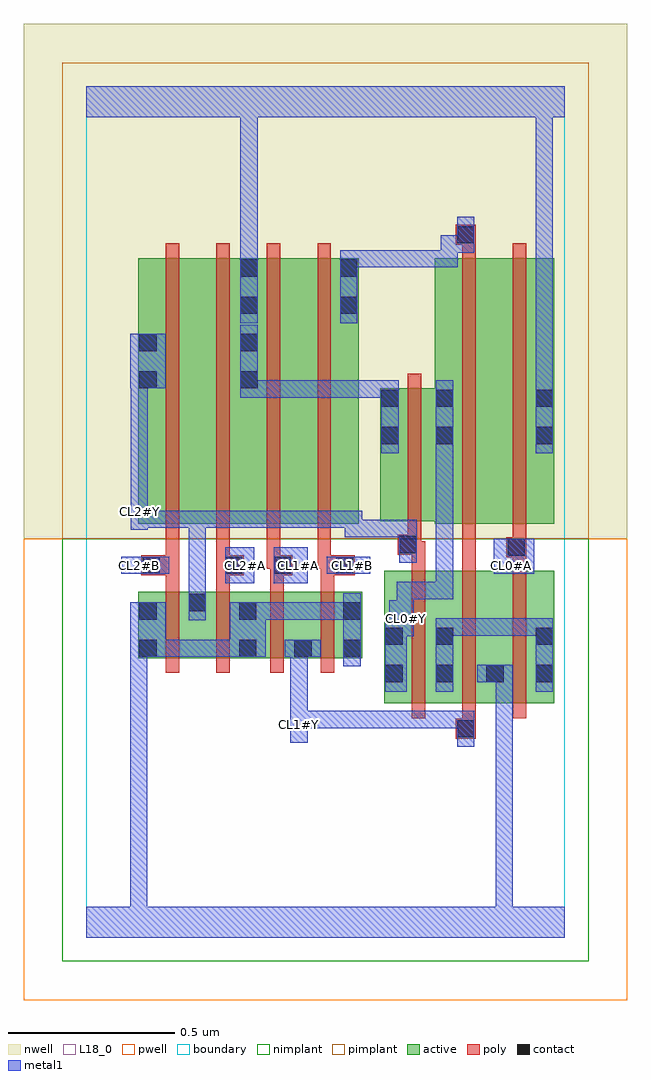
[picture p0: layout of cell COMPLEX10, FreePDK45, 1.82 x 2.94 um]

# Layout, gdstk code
import gdstk
lib = gdstk.Library(unit=1e-6, precision=1e-09)
def R(c, l, rs):  # rectangles x0, y0, x1, y1
    for r in rs: c.add(gdstk.rectangle(r[:2], r[2:], *l))
def A(c, l, x, y, w, h, nx, ny, dx, dy):  # array of equal rectangles
    R(c, l, [(x+i*dx, y+j*dy, x+i*dx+w, y+j*dy+h) for i in range(nx) for j in range(ny)])
active = (1, 0)
pwell = (2, 0)
nwell = (3, 0)
nimplant = (4, 0)
pimplant = (5, 0)
poly = (9, 0)
contact = (10, 0)
metal1 = (11, 0)
L18_0 = (18, 0)
boundary = (235, 0)

complex10 = lib.new_cell('COMPLEX10')
R(complex10, active, [(0.896,0.704,1.108,1.104), (1.048,0.704,1.26,1.104), (1.2,0.704,1.408,1.104), (1.2,0.704,1.26,0.936), (0.896,0.756,0.956,1.104), (1.048,0.756,1.108,0.936), (1.348,0.756,1.408,1.104), (0.156,0.84,0.216,1.04), (0.156,0.84,0.364,1.04), (0.304,0.84,0.516,1.04), (0.456,0.84,0.682,1.04), (0.456,0.84,0.516,1.012), (0.622,0.84,0.83,1.04), (0.622,0.84,0.682,0.908), (0.77,0.84,0.83,1.04), (0.304,0.95,0.364,1.038), (0.156,1.244,0.216,2.044), (0.156,1.244,0.336,2.044), (0.336,1.244,0.52,2.044), (0.46,1.244,0.64,2.044), (0.64,1.244,0.82,2.044), (0.76,1.244,0.82,2.044), (1.048,1.244,1.228,2.044), (1.228,1.244,1.408,2.044), (1.348,1.244,1.408,2.044), (0.884,1.252,1.108,1.652), (0.884,1.252,0.944,1.652), (1.048,1.48,1.108,1.934), (0.46,1.648,0.52,2.044)])
R(complex10, pwell, [(-0.188,-0.188,1.628,1.2)])
R(complex10, nwell, [(-0.188,1.2,1.628,2.748)])
R(complex10, nimplant, [(-0.072,-0.072,1.512,1.2)])
R(complex10, pimplant, [(-0.072,1.2,1.512,2.632)])
A(complex10, poly, 0.98, 0.66, 0.04, 0.488, 3, 1, 0.152, 0)
A(complex10, poly, 0.24, 1.11, 0.04, 0.13, 4, 1, 0.152, 0)
A(complex10, poly, 0.24, 1.2, 0.04, 0.888, 4, 1, 0.152, 0)
R(complex10, poly, [(1.112,0.598,1.172,0.658), (1.132,0.618,1.172,0.7), (0.24,0.796,0.28,1.084), (0.392,0.796,0.432,1.084), (0.554,0.796,0.594,1.084), (0.706,0.796,0.746,1.084), (0.24,1.044,0.28,1.13), (0.392,1.044,0.432,1.13), (0.554,1.044,0.594,1.13), (0.706,1.044,0.746,1.13), (0.166,1.09,0.28,1.15), (0.392,1.09,0.474,1.15), (0.554,1.09,0.62,1.15), (0.706,1.09,0.808,1.15), (0.98,1.108,1.02,1.192), (1.132,1.108,1.172,1.204), (1.284,1.108,1.324,1.184), (0.24,1.11,0.28,1.15), (0.24,1.11,0.28,1.15), (0.392,1.11,0.432,1.15), (0.392,1.11,0.432,1.15), (0.544,1.11,0.594,1.15), (0.554,1.11,0.594,1.15), (0.696,1.11,0.746,1.15), (0.706,1.11,0.746,1.15), (1.264,1.144,1.324,1.204), (0.938,1.152,1.008,1.212), (0.968,1.152,1.008,1.192), (0.968,1.152,1.02,1.192), (1.132,1.164,1.172,1.24), (1.132,1.164,1.172,1.204), (1.132,1.164,1.172,1.204), (1.132,1.164,1.172,1.204), (1.284,1.164,1.324,1.24), (1.284,1.164,1.324,1.204), (1.284,1.164,1.324,1.204), (0.968,1.172,1.008,1.248), (1.132,1.2,1.172,2.088), (1.284,1.2,1.324,2.088), (0.968,1.208,1.008,1.696), (1.132,2.048,1.172,2.124), (1.112,2.084,1.172,2.144)])
A(complex10, contact, 0.9, 0.768, 0.052, 0.052, 3, 1, 0.152, 0)
A(complex10, contact, 0.464, 1.652, 0.052, 0.052, 1, 4, 0, 0.112)
R(complex10, contact, [(1.116,0.602,1.168,0.654), (1.352,0.768,1.404,0.82), (0.16,0.844,0.212,0.896), (0.46,0.844,0.512,0.896), (0.626,0.844,0.678,0.896), (0.774,0.844,0.826,0.896), (0.9,0.88,0.952,0.932), (1.052,0.88,1.104,0.932), (1.352,0.88,1.404,0.932), (0.16,0.956,0.212,1.008), (0.46,0.956,0.512,1.008), (0.774,0.956,0.826,1.008), (0.308,0.982,0.36,1.034), (0.17,1.094,0.222,1.146), (0.418,1.094,0.47,1.146), (0.564,1.094,0.616,1.146), (0.752,1.094,0.804,1.146), (1.268,1.148,1.32,1.2), (0.942,1.156,0.994,1.208), (0.888,1.484,0.94,1.536), (1.052,1.484,1.104,1.536), (1.352,1.484,1.404,1.536), (0.888,1.596,0.94,1.648), (1.052,1.596,1.104,1.648), (1.352,1.596,1.404,1.648), (0.16,1.652,0.212,1.704), (0.16,1.764,0.212,1.816), (0.764,1.876,0.816,1.928), (0.764,1.988,0.816,2.04), (1.116,2.088,1.168,2.14)])
R(complex10, metal1, [(0,0,1.44,0.092), (0.132,0.04,0.184,0.092), (0.132,0.04,0.184,0.092), (0.132,0.04,0.184,0.092), (0.132,0.04,0.184,0.092), (0.132,0.04,0.184,0.092), (0.132,0.04,0.184,0.092), (0.132,0.04,0.184,0.092), (0.132,0.04,0.184,0.092), (0.132,0.04,0.184,0.896), (1.232,0.04,1.284,0.092), (1.232,0.04,1.284,0.092), (1.232,0.04,1.284,0.092), (1.232,0.04,1.284,0.092), (1.232,0.04,1.284,0.092), (1.232,0.04,1.284,0.092), (1.232,0.04,1.284,0.092), (1.232,0.04,1.284,0.092), (1.232,0.04,1.284,0.092), (1.232,0.04,1.284,0.092), (1.232,0.04,1.284,0.82), (1.116,0.574,1.168,0.682), (0.614,0.586,0.666,0.694), (0.614,0.63,0.83,0.682), (0.778,0.63,0.83,0.682), (0.778,0.63,0.83,0.682), (0.778,0.63,0.83,0.682), (0.778,0.63,0.994,0.682), (0.942,0.63,0.994,0.682), (0.942,0.63,0.994,0.682), (0.942,0.63,0.994,0.682), (0.942,0.63,1.118,0.682), (1.066,0.63,1.118,0.682), (1.066,0.63,1.168,0.682), (0.614,0.642,0.666,0.694), (0.614,0.642,0.666,0.694), (0.614,0.642,0.666,0.694), (0.614,0.642,0.666,0.694), (0.614,0.642,0.666,0.896), (0.9,0.74,0.964,0.96), (1.052,0.74,1.104,0.96), (1.352,0.74,1.404,0.96), (1.176,0.768,1.284,0.82), (1.232,0.768,1.284,0.82), (1.232,0.768,1.284,0.82), (0.774,0.816,0.826,1.036), (0.132,0.844,0.184,0.896), (0.132,0.844,0.184,0.896), (0.132,0.844,0.184,0.896), (0.132,0.844,0.184,0.896), (0.132,0.844,0.184,0.896), (0.132,0.844,0.184,0.896), (0.132,0.844,0.184,0.896), (0.132,0.844,0.184,0.896), (0.132,0.844,0.24,1.008), (0.188,0.844,0.24,0.896), (0.188,0.844,0.24,0.896), (0.188,0.844,0.36,0.896), (0.308,0.844,0.36,0.896), (0.308,0.844,0.36,0.896), (0.308,0.844,0.36,0.896), (0.308,0.844,0.484,0.896), (0.432,0.844,0.54,1.008), (0.598,0.844,0.706,0.896), (0.912,0.906,0.986,1.014), (0.912,0.908,0.964,0.96), (1.052,0.908,1.104,0.96), (1.052,0.908,1.104,0.96), (1.052,0.908,1.294,0.96), (1.242,0.908,1.294,0.96), (1.242,0.908,1.404,0.96), (1.352,0.908,1.404,0.96), (1.352,0.908,1.404,0.96), (0.308,0.954,0.36,1.062), (0.488,0.956,0.54,1.008), (0.488,0.956,0.54,1.008), (0.488,0.956,0.54,1.008), (0.488,0.956,0.54,1.008), (0.488,0.956,0.666,1.008), (0.614,0.956,0.666,1.008), (0.614,0.956,0.666,1.008), (0.614,0.956,0.666,1.008), (0.614,0.956,0.826,1.008), (0.934,0.962,0.986,1.014), (0.934,0.962,0.986,1.07), (0.308,1.01,0.36,1.062), (0.308,1.01,0.36,1.062), (0.308,1.01,0.36,1.284), (0.934,1.018,1.104,1.07), (1.052,1.018,1.104,1.07), (1.052,1.018,1.104,1.508), (0.418,1.066,0.506,1.174), (0.564,1.066,0.666,1.174), (0.106,1.094,0.25,1.146), (0.724,1.094,0.854,1.146), (1.226,1.094,1.348,1.2), (0.942,1.128,0.994,1.236), (0.942,1.184,0.994,1.236), (0.942,1.184,0.994,1.256), (0.778,1.204,0.994,1.256), (0.778,1.204,0.83,1.284), (0.134,1.226,0.186,1.334), (0.134,1.232,0.186,1.284), (0.134,1.232,0.186,1.284), (0.134,1.232,0.36,1.284), (0.308,1.232,0.36,1.284), (0.308,1.232,0.36,1.284), (0.308,1.232,0.36,1.284), (0.308,1.232,0.54,1.284), (0.488,1.232,0.54,1.284), (0.488,1.232,0.54,1.284), (0.488,1.232,0.54,1.284), (0.488,1.232,0.65,1.284), (0.598,1.232,0.65,1.284), (0.598,1.232,0.65,1.284), (0.598,1.232,0.65,1.284), (0.598,1.232,0.83,1.284), (0.134,1.282,0.186,1.704), (0.888,1.456,0.94,1.676), (1.052,1.456,1.104,1.508), (1.052,1.456,1.104,1.508), (1.052,1.456,1.104,1.676), (1.352,1.456,1.404,1.676), (0.464,1.624,0.516,1.676), (0.464,1.624,0.516,1.676), (0.464,1.624,0.516,1.844), (0.464,1.624,0.65,1.676), (0.598,1.624,0.65,1.676), (0.598,1.624,0.83,1.676), (0.778,1.624,0.83,1.676), (0.778,1.624,0.83,1.676), (0.778,1.624,0.83,1.676), (0.778,1.624,0.94,1.676), (1.352,1.624,1.404,1.676), (1.352,1.624,1.404,1.676), (1.352,1.624,1.404,2.52), (0.132,1.652,0.24,1.816), (0.464,1.848,0.516,2.068), (0.764,1.848,0.816,2.068), (0.464,2.016,0.516,2.068), (0.464,2.016,0.516,2.068), (0.464,2.016,0.516,2.068), (0.464,2.016,0.516,2.068), (0.464,2.016,0.516,2.068), (0.464,2.016,0.516,2.068), (0.464,2.016,0.516,2.068), (0.464,2.016,0.516,2.068), (0.464,2.016,0.516,2.52), (0.764,2.016,0.994,2.068), (0.942,2.016,0.994,2.068), (0.942,2.016,0.994,2.068), (0.942,2.016,0.994,2.068), (0.942,2.016,1.118,2.068), (1.066,2.016,1.118,2.068), (1.066,2.016,1.118,2.112), (1.066,2.06,1.118,2.112), (1.066,2.06,1.168,2.112), (1.116,2.06,1.168,2.168), (0,2.468,1.44,2.56), (1.352,2.468,1.404,2.52), (1.352,2.468,1.404,2.52), (1.352,2.468,1.404,2.52), (1.352,2.468,1.404,2.52), (1.352,2.468,1.404,2.52), (1.352,2.468,1.404,2.52)])
A(complex10, L18_0, 0.454, 1.094, 0.052, 0.052, 3, 1, 0.16, 0)
R(complex10, L18_0, [(0,0,1.44,0.092), (0.132,0.04,0.184,0.092), (0.132,0.04,0.184,0.092), (0.132,0.04,0.184,0.092), (0.132,0.04,0.184,0.092), (0.132,0.04,0.184,0.092), (0.132,0.04,0.184,0.092), (0.132,0.04,0.184,0.092), (0.132,0.04,0.184,0.092), (0.132,0.04,0.184,0.896), (1.232,0.04,1.284,0.092), (1.232,0.04,1.284,0.092), (1.232,0.04,1.284,0.092), (1.232,0.04,1.284,0.092), (1.232,0.04,1.284,0.092), (1.232,0.04,1.284,0.092), (1.232,0.04,1.284,0.092), (1.232,0.04,1.284,0.092), (1.232,0.04,1.284,0.092), (1.232,0.04,1.284,0.092), (1.232,0.04,1.284,0.82), (1.116,0.574,1.168,0.682), (0.614,0.586,0.666,0.694), (0.614,0.614,0.666,0.666), (0.614,0.63,0.83,0.682), (0.778,0.63,0.83,0.682), (0.778,0.63,0.83,0.682), (0.778,0.63,0.83,0.682), (0.778,0.63,0.994,0.682), (0.942,0.63,0.994,0.682), (0.942,0.63,0.994,0.682), (0.942,0.63,0.994,0.682), (0.942,0.63,1.118,0.682), (1.066,0.63,1.118,0.682), (1.066,0.63,1.168,0.682), (0.614,0.642,0.666,0.694), (0.614,0.642,0.666,0.694), (0.614,0.642,0.666,0.694), (0.614,0.642,0.666,0.694), (0.614,0.642,0.666,0.896), (0.9,0.74,0.964,0.96), (1.176,0.768,1.284,0.82), (1.232,0.768,1.284,0.82), (1.232,0.768,1.284,0.82), (0.774,0.816,0.826,1.036), (0.132,0.844,0.184,0.896), (0.132,0.844,0.184,0.896), (0.132,0.844,0.184,0.896), (0.132,0.844,0.184,0.896), (0.132,0.844,0.184,0.896), (0.132,0.844,0.184,0.896), (0.132,0.844,0.184,0.896), (0.132,0.844,0.184,0.896), (0.132,0.844,0.24,1.008), (0.188,0.844,0.24,0.896), (0.188,0.844,0.24,0.896), (0.188,0.844,0.36,0.896), (0.308,0.844,0.36,0.896), (0.308,0.844,0.36,0.896), (0.308,0.844,0.36,0.896), (0.308,0.844,0.484,0.896), (0.432,0.844,0.54,1.008), (0.598,0.844,0.706,0.896), (0.912,0.906,0.986,1.014), (0.912,0.908,0.964,0.96), (0.934,0.934,0.986,0.986), (0.308,0.954,0.36,1.062), (0.488,0.956,0.54,1.008), (0.488,0.956,0.54,1.008), (0.488,0.956,0.54,1.008), (0.488,0.956,0.54,1.008), (0.488,0.956,0.666,1.008), (0.614,0.956,0.666,1.008), (0.614,0.956,0.666,1.008), (0.614,0.956,0.666,1.008), (0.614,0.956,0.826,1.008), (0.934,0.962,0.986,1.014), (0.934,0.962,0.986,1.07), (0.308,1.01,0.36,1.062), (0.308,1.01,0.36,1.062), (0.308,1.01,0.36,1.284), (0.934,1.018,1.104,1.07), (1.052,1.018,1.104,1.07), (1.052,1.018,1.104,1.508), (0.418,1.066,0.506,1.174), (0.564,1.066,0.666,1.174), (0.106,1.094,0.25,1.146), (0.134,1.094,0.186,1.146), (0.724,1.094,0.854,1.146), (1.226,1.094,1.348,1.2), (1.254,1.094,1.306,1.146), (0.942,1.128,0.994,1.236), (0.942,1.184,0.994,1.236), (0.942,1.184,0.994,1.256), (0.778,1.204,0.994,1.256), (0.778,1.204,0.83,1.284), (0.134,1.226,0.186,1.334), (0.134,1.232,0.186,1.284), (0.134,1.232,0.186,1.284), (0.134,1.232,0.36,1.284), (0.308,1.232,0.36,1.284), (0.308,1.232,0.36,1.284), (0.308,1.232,0.36,1.284), (0.308,1.232,0.54,1.284), (0.488,1.232,0.54,1.284), (0.488,1.232,0.54,1.284), (0.488,1.232,0.54,1.284), (0.488,1.232,0.65,1.284), (0.598,1.232,0.65,1.284), (0.598,1.232,0.65,1.284), (0.598,1.232,0.65,1.284), (0.598,1.232,0.83,1.284), (0.134,1.254,0.186,1.306), (0.134,1.282,0.186,1.704), (0.888,1.456,0.94,1.676), (1.052,1.456,1.104,1.508), (1.052,1.456,1.104,1.508), (1.052,1.456,1.104,1.676), (1.352,1.456,1.404,1.676), (0.464,1.624,0.516,1.676), (0.464,1.624,0.516,1.676), (0.464,1.624,0.516,1.844), (0.464,1.624,0.65,1.676), (0.598,1.624,0.65,1.676), (0.598,1.624,0.83,1.676), (0.778,1.624,0.83,1.676), (0.778,1.624,0.83,1.676), (0.778,1.624,0.83,1.676), (0.778,1.624,0.94,1.676), (1.352,1.624,1.404,1.676), (1.352,1.624,1.404,1.676), (1.352,1.624,1.404,2.52), (0.132,1.652,0.24,1.816), (0.464,1.848,0.516,2.068), (0.764,1.848,0.816,2.068), (0.464,2.016,0.516,2.068), (0.464,2.016,0.516,2.068), (0.464,2.016,0.516,2.068), (0.464,2.016,0.516,2.068), (0.464,2.016,0.516,2.068), (0.464,2.016,0.516,2.068), (0.464,2.016,0.516,2.068), (0.464,2.016,0.516,2.068), (0.464,2.016,0.516,2.52), (0.764,2.016,0.994,2.068), (0.942,2.016,0.994,2.068), (0.942,2.016,0.994,2.068), (0.942,2.016,0.994,2.068), (0.942,2.016,1.118,2.068), (1.066,2.016,1.118,2.068), (1.066,2.016,1.118,2.112), (1.066,2.06,1.118,2.112), (1.066,2.06,1.168,2.112), (1.116,2.06,1.168,2.168), (0,2.468,1.44,2.56), (1.352,2.468,1.404,2.52), (1.352,2.468,1.404,2.52), (1.352,2.468,1.404,2.52), (1.352,2.468,1.404,2.52), (1.352,2.468,1.404,2.52), (1.352,2.468,1.404,2.52)])
R(complex10, boundary, [(0,0,1.44,2.56)])
complex10.add(gdstk.Label('CL0#A', (1.28,1.12), layer=11, texttype=0))
complex10.add(gdstk.Label('CL0#Y', (0.96,0.96), layer=11, texttype=0))
complex10.add(gdstk.Label('CL1#A', (0.64,1.12), layer=11, texttype=0))
complex10.add(gdstk.Label('CL1#B', (0.8,1.12), layer=11, texttype=0))
complex10.add(gdstk.Label('CL1#Y', (0.64,0.64), layer=11, texttype=0))
complex10.add(gdstk.Label('CL2#A', (0.48,1.12), layer=11, texttype=0))
complex10.add(gdstk.Label('CL2#B', (0.16,1.12), layer=11, texttype=0))
complex10.add(gdstk.Label('CL2#Y', (0.16,1.28), layer=11, texttype=0))

lib.write_gds('COMPLEX10.gds')
